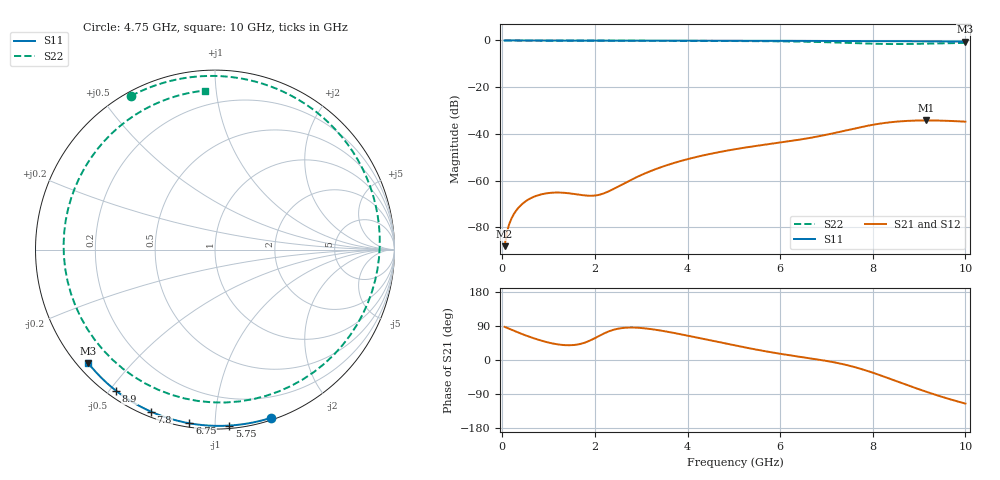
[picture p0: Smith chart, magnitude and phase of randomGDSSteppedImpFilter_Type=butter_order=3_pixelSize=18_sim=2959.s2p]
! freq	dB(S11)	phase(S11)	dB(S12)	phase(S12)
!  dB(S21)	phase(S21)	dB(S22)	phase(S22)
!S-par simulation data
#  GHz  S  DB  R 50
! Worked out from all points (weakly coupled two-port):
!   200 points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, 50 MHz to 10 GHz, reference 50 ohm
!   highest |S21| = -34.23 dB at 9.15 GHz (marker M1); lowest = -88.1 dB at 50 MHz (marker M2)
!   lowest |S11| = -0.5 dB at 10 GHz (marker M3), VSWR 37.25, Z = 1.54 - j19.1 ohm
!   |S11| at or under -10 dB: nowhere
!   |S22| runs from -1.5 to 0.0 dB; largest |S21 - S12| = 0
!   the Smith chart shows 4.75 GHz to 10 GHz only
!   S11 on the Smith chart (normalised r, x): 4.75 GHz: 0.02, -1.38; 5.75 GHz: 0.02, -1.08; 6.75 GHz: 0.02, -0.86; 7.8 GHz: 0.02, -0.68; 8.9 GHz: 0.03, -0.52; 10 GHz: 0.03, -0.38
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0.05  -0.00 -0.8  -88.06 87.4  -88.06 87.4  -0.00 -4.4
0.45  -0.01 -7.2  -69.67 67.4  -69.67 67.4  -0.05 -38.7
0.85  -0.02 -13.5  -65.84 50.9  -65.84 50.9  -0.08 -69.7
1.25  -0.03 -19.8  -65.12 40.4  -65.12 40.4  -0.10 -96.5
1.75  -0.04 -27.6  -66.27 44.6  -66.27 44.6  -0.11 -124.6
2.5  -0.05 -39.1  -62.56 82.6  -62.56 82.6  -0.12 -158.5
3.4  -0.07 -52.5  -54.44 78.1  -54.44 78.1  -0.15 167.5
4.75  -0.11 -71.7  -47.53 45.3  -47.53 45.3  -0.22 118.7
5.05  -0.12 -75.9  -46.47 37.9  -46.47 37.9  -0.24 106.9
5.75  -0.14 -85.3  -44.39 21.6  -44.39 21.6  -0.33 76.4
6.25  -0.17 -91.9  -42.97 11.6  -42.97 11.6  -0.44 50.4
6.7  -0.19 -97.7  -41.51 3.4  -41.51 3.4  -0.60 22.6
6.75  -0.19 -98.4  -41.33 2.5  -41.33 2.5  -0.62 19.1
7.3  -0.23 -105.3  -39.05 -9.5  -39.05 -9.5  -0.93 -23.5
7.8  -0.26 -111.6  -36.86 -25.6  -36.86 -25.6  -1.28 -70.7
8.05  -0.28 -114.6  -35.93 -35.5  -35.93 -35.5  -1.42 -96.4
8.35  -0.30 -118.3  -35.08 -48.6  -35.08 -48.6  -1.53 -127.8
8.65  -0.33 -122.0  -34.54 -62.0  -34.54 -62.0  -1.53 -158.2
8.9  -0.35 -125.0  -34.30 -73.0  -34.30 -73.0  -1.47 178.1
9.15  -0.38 -128.0  -34.23 -83.6  -34.23 -83.6  -1.38 156.0
9.6  -0.42 -133.4  -34.40 -101.2  -34.40 -101.2  -1.19 120.8
10  -0.47 -138.2  -34.76 -115.1  -34.76 -115.1  -1.03 93.6
